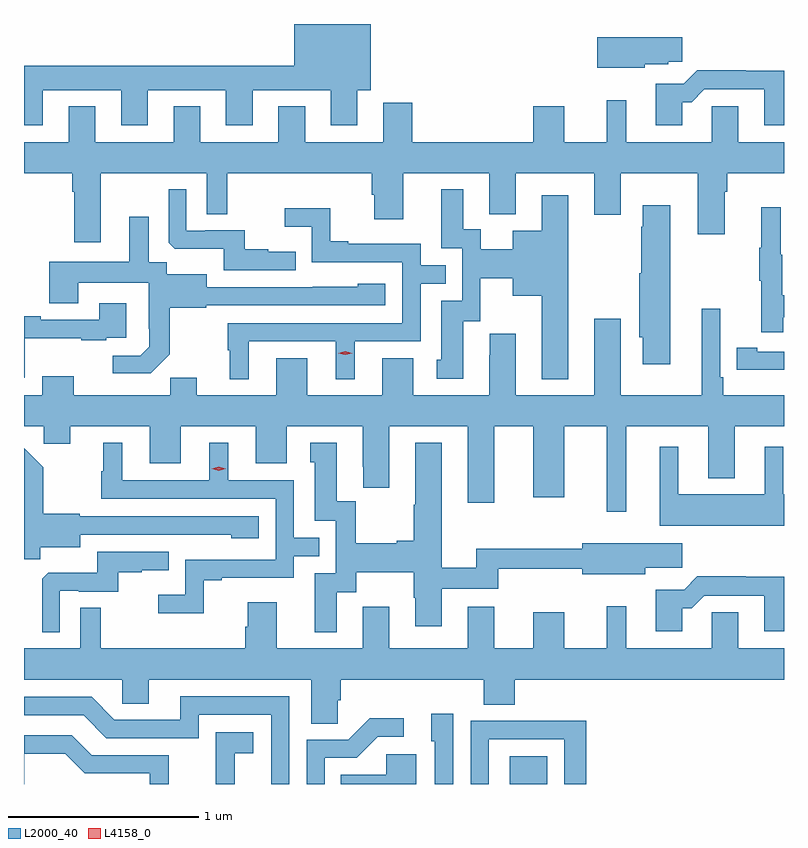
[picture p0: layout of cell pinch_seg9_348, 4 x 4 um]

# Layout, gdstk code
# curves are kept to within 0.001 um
import gdstk
lib = gdstk.Library(unit=1e-6, precision=1e-09)
def R(c, l, rs):  # rectangles x0, y0, x1, y1
    for r in rs: c.add(gdstk.rectangle(r[:2], r[2:], *l))
def P(c, l, *ps):  # polygons
    for p in ps: c.add(gdstk.Polygon(p, *l))
L2000_40 = (2000, 40)
L4158_0 = (4158, 0)

pinch_seg9_348 = lib.new_cell('pinch_seg9_348')
R(pinch_seg9_348, L2000_40, [(584.465,1189.21,584.662,1189.357)])
P(pinch_seg9_348, L2000_40, [(582.007,1192.862),(582.419,1192.862),(582.419,1192.677),(582.559,1192.677),(582.559,1192.862),(582.971,1192.862),(582.971,1192.677),(583.111,1192.677),(583.111,1192.862),(583.523,1192.862),(583.523,1192.677),(583.663,1192.677),(583.663,1192.862),(583.732,1192.862),(583.732,1193.21),(583.331,1193.21),(583.331,1192.99),(581.908,1192.99),(581.908,1192.677),(582.007,1192.677)],
  [(585.174,1192.997),(585.3,1192.997),(585.3,1193.011),(585.373,1193.011),(585.373,1193.14),(584.924,1193.14),(584.924,1192.979),(585.174,1192.979)],
  [(585.373,1192.799),(585.422,1192.799),(585.489,1192.866),(585.803,1192.866),(585.803,1192.677),(585.908,1192.677),(585.908,1192.964),(585.707,1192.964),(585.707,1192.967),(585.452,1192.967),(585.381,1192.896),(585.233,1192.896),(585.233,1192.677),(585.373,1192.677)],
  [(582.313,1192.424),(582.87,1192.424),(582.87,1192.21),(582.979,1192.21),(582.979,1192.424),(583.739,1192.424),(583.739,1192.311),(583.751,1192.311),(583.751,1192.182),(583.903,1192.182),(583.903,1192.424),(584.357,1192.424),(584.357,1192.208),(584.497,1192.208),(584.497,1192.424),(584.909,1192.424),(584.909,1192.206),(585.049,1192.206),(585.049,1192.424),(585.455,1192.424),(585.455,1192.104),(585.595,1192.104),(585.595,1192.328),(585.608,1192.328),(585.608,1192.424),(585.908,1192.424),(585.908,1192.588),(585.667,1192.588),(585.667,1192.778),(585.528,1192.778),(585.528,1192.588),(585.079,1192.588),(585.079,1192.81),(584.975,1192.81),(584.975,1192.588),(584.752,1192.588),(584.752,1192.777),(584.588,1192.777),(584.588,1192.588),(583.952,1192.588),(583.952,1192.795),(583.799,1192.795),(583.799,1192.588),(583.387,1192.588),(583.387,1192.777),(583.247,1192.777),(583.247,1192.588),(582.835,1192.588),(582.835,1192.777),(582.695,1192.777),(582.695,1192.588),(582.283,1192.588),(582.283,1192.777),(582.143,1192.777),(582.143,1192.588),(581.908,1192.588),(581.908,1192.424),(582.161,1192.424),(582.161,1192.328),(582.173,1192.328),(582.173,1192.062),(582.313,1192.062)],
  [(583.337,1192.012),(583.193,1192.012),(583.193,1192.024),(583.07,1192.024),(583.07,1192.125),(582.862,1192.125),(582.862,1192.122),(582.762,1192.122),(582.762,1192.339),(582.669,1192.339),(582.669,1192.059),(582.701,1192.028),(582.96,1192.028),(582.96,1191.915),(583.337,1191.915)],
  [(584.773,1192.309),(584.633,1192.309),(584.633,1192.123),(584.48,1192.123),(584.48,1192.024),(584.311,1192.024),(584.311,1192.13),(584.221,1192.13),(584.221,1192.339),(584.105,1192.339),(584.105,1192.029),(584.214,1192.029),(584.214,1191.753),(584.105,1191.753),(584.105,1191.444),(584.081,1191.444),(584.081,1191.342),(584.221,1191.342),(584.221,1191.645),(584.31,1191.645),(584.31,1191.872),(584.48,1191.872),(584.48,1191.779),(584.633,1191.779),(584.633,1191.341),(584.773,1191.341)],
  [(585.31,1192.255),(585.164,1192.255),(585.164,1192.142),(585.157,1192.142),(585.157,1191.897),(585.146,1191.897),(585.146,1191.561),(585.164,1191.561),(585.164,1191.42),(585.31,1191.42)],
  [(585.905,1191.666),(585.908,1191.666),(585.908,1191.782),(585.898,1191.782),(585.898,1191.996),(585.89,1191.996),(585.89,1192.246),(585.788,1192.246),(585.788,1192.033),(585.777,1192.033),(585.777,1191.859),(585.788,1191.859),(585.788,1191.588),(585.905,1191.588)],
  [(583.09,1191.54),(583.55,1191.54),(583.55,1191.341),(583.648,1191.341),(583.648,1191.54),(583.995,1191.54),(583.995,1191.843),(584.129,1191.843),(584.129,1191.939),(583.995,1191.939),(583.995,1192.053),(583.615,1192.053),(583.615,1192.066),(583.521,1192.066),(583.521,1192.241),(583.281,1192.241),(583.281,1192.142),(583.422,1192.142),(583.422,1191.957),(583.899,1191.957),(583.899,1191.636),(582.981,1191.636),(582.981,1191.492),(582.992,1191.492),(582.992,1191.341),(583.09,1191.341)],
  [(582.675,1191.471),(582.675,1191.717),(582.867,1191.717),(582.867,1191.729),(583.81,1191.729),(583.81,1191.844),(583.665,1191.844),(583.665,1191.826),(582.871,1191.825),(582.871,1191.892),(582.66,1191.892),(582.66,1191.956),(582.565,1191.956),(582.565,1192.195),(582.461,1192.195),(582.461,1191.958),(582.041,1191.958),(582.041,1191.739),(582.193,1191.739),(582.193,1191.848),(582.564,1191.848),(582.564,1191.607),(582.566,1191.607),(582.566,1191.512),(582.519,1191.465),(582.375,1191.465),(582.375,1191.371),(582.575,1191.371)],
  [(581.911,1191.557),(582.209,1191.557),(582.209,1191.546),(582.341,1191.546),(582.341,1191.558),(582.445,1191.558),(582.445,1191.739),(582.305,1191.739),(582.305,1191.654),(581.995,1191.654),(581.995,1191.673),(581.908,1191.673),(581.908,1191.348),(581.911,1191.348)],
  [(582.169,1191.355),(582.005,1191.355),(582.005,1191.256),(581.908,1191.256),(581.908,1191.092),(582.013,1191.092),(582.013,1191.002),(582.151,1191.002),(582.151,1191.092),(582.569,1191.092),(582.569,1190.898),(582.733,1190.898),(582.733,1191.092),(583.127,1191.092),(583.127,1190.898),(583.291,1190.898),(583.291,1191.092),(583.691,1191.092),(583.691,1190.881),(583.694,1190.881),(583.694,1190.769),(583.831,1190.769),(583.831,1191.092),(584.243,1191.092),(584.243,1190.691),(584.383,1190.691),(584.383,1191.092),(584.588,1191.092),(584.588,1190.718),(584.752,1190.718),(584.752,1191.092),(584.975,1191.092),(584.975,1190.643),(585.079,1190.643),(585.079,1191.092),(585.509,1191.092),(585.509,1190.819),(585.649,1190.819),(585.649,1191.092),(585.908,1191.092),(585.908,1191.256),(585.587,1191.256),(585.587,1191.352),(585.573,1191.352),(585.573,1191.712),(585.476,1191.712),(585.476,1191.256),(585.049,1191.256),(585.049,1191.658),(584.909,1191.658),(584.909,1191.256),(584.497,1191.256),(584.497,1191.58),(584.358,1191.58),(584.358,1191.467),(584.357,1191.467),(584.357,1191.256),(583.957,1191.256),(583.957,1191.451),(583.793,1191.451),(583.793,1191.256),(583.399,1191.256),(583.399,1191.451),(583.235,1191.451),(583.235,1191.256),(582.817,1191.256),(582.817,1191.347),(582.679,1191.347),(582.679,1191.256),(582.169,1191.256)],
  [(585.908,1191.486),(585.766,1191.486),(585.766,1191.506),(585.658,1191.506),(585.658,1191.39),(585.766,1191.39),(585.766,1191.389),(585.908,1191.389)],
  [(582.855,1190.283),(582.949,1190.283),(582.949,1190.295),(583.329,1190.295),(583.329,1190.409),(583.463,1190.409),(583.463,1190.505),(583.329,1190.505),(583.329,1190.808),(582.982,1190.808),(582.982,1191.007),(582.884,1191.007),(582.884,1190.808),(582.424,1190.808),(582.424,1191.007),(582.326,1191.007),(582.326,1190.856),(582.315,1190.856),(582.315,1190.712),(583.233,1190.712),(583.233,1190.391),(582.756,1190.391),(582.756,1190.206),(582.615,1190.206),(582.615,1190.108),(582.855,1190.108)],
  [(583.555,1190.218),(583.657,1190.218),(583.657,1190.324),(583.96,1190.324),(583.96,1190.19),(583.967,1190.19),(583.967,1190.04),(584.107,1190.04),(584.107,1190.238),(584.405,1190.238),(584.405,1190.344),(584.846,1190.344),(584.846,1190.315),(585.178,1190.315),(585.178,1190.347),(585.373,1190.347),(585.373,1190.476),(584.846,1190.476),(584.846,1190.447),(584.288,1190.447),(584.288,1190.347),(584.107,1190.347),(584.107,1191.007),(583.967,1191.007),(583.967,1190.681),(583.96,1190.681),(583.96,1190.489),(583.871,1190.489),(583.871,1190.476),(583.653,1190.476),(583.653,1190.699),(583.555,1190.699),(583.555,1191.007),(583.415,1191.007),(583.415,1190.904),(583.439,1190.904),(583.439,1190.595),(583.548,1190.595),(583.548,1190.319),(583.439,1190.319),(583.439,1190.01),(583.555,1190.01)],
  [(585.908,1190.734),(585.904,1190.734),(585.904,1190.986),(585.806,1190.986),(585.806,1190.734),(585.352,1190.734),(585.352,1190.986),(585.254,1190.986),(585.254,1190.57),(585.908,1190.57)],
  [(581.994,1190.456),(582.205,1190.456),(582.205,1190.523),(582.999,1190.522),(582.999,1190.504),(583.144,1190.504),(583.144,1190.619),(582.201,1190.619),(582.201,1190.632),(582.009,1190.632),(582.009,1190.877),(581.908,1190.977),(581.908,1190.392),(581.994,1190.392)],
  [(582.096,1190.226),(582.196,1190.226),(582.196,1190.223),(582.404,1190.223),(582.404,1190.325),(582.527,1190.325),(582.527,1190.336),(582.671,1190.336),(582.671,1190.433),(582.294,1190.433),(582.294,1190.321),(582.035,1190.321),(582.003,1190.289),(582.003,1190.009),(582.096,1190.009)],
  [(585.373,1190.135),(585.422,1190.135),(585.489,1190.202),(585.803,1190.202),(585.803,1190.013),(585.908,1190.013),(585.908,1190.3),(585.707,1190.3),(585.707,1190.303),(585.452,1190.303),(585.382,1190.233),(585.233,1190.233),(585.233,1190.013),(585.373,1190.013)],
  [(583.56,1189.651),(583.574,1189.651),(583.574,1189.76),(584.327,1189.76),(584.327,1189.627),(584.492,1189.627),(584.492,1189.76),(585.908,1189.76),(585.908,1189.924),(585.667,1189.924),(585.667,1190.114),(585.528,1190.114),(585.528,1189.924),(585.079,1189.924),(585.079,1190.146),(584.975,1190.146),(584.975,1189.924),(584.752,1189.924),(584.752,1190.113),(584.588,1190.113),(584.588,1189.924),(584.383,1189.924),(584.383,1190.143),(584.243,1190.143),(584.243,1189.924),(583.831,1189.924),(583.831,1190.143),(583.691,1190.143),(583.691,1189.924),(583.237,1189.924),(583.237,1190.167),(583.085,1190.167),(583.085,1190.037),(583.073,1190.037),(583.073,1189.924),(582.313,1189.924),(582.313,1190.138),(582.204,1190.138),(582.204,1189.924),(581.908,1189.924),(581.908,1189.76),(582.426,1189.76),(582.426,1189.633),(582.565,1189.633),(582.565,1189.76),(583.421,1189.76),(583.421,1189.528),(583.56,1189.528)],
  [(583.305,1189.671),(582.731,1189.671),(582.731,1189.548),(582.384,1189.548),(582.264,1189.668),(581.908,1189.668),(581.908,1189.572),(582.222,1189.572),(582.342,1189.452),(582.828,1189.452),(582.828,1189.575),(583.209,1189.575),(583.209,1189.21),(583.305,1189.21)],
  [(584.166,1189.579),(584.051,1189.579),(584.051,1189.434),(584.07,1189.434),(584.07,1189.21),(584.166,1189.21)],
  [(583.491,1189.347),(583.66,1189.347),(583.771,1189.458),(583.906,1189.458),(583.906,1189.556),(583.727,1189.556),(583.614,1189.443),(583.395,1189.443),(583.395,1189.21),(583.491,1189.21)],
  [(584.355,1189.446),(584.751,1189.446),(584.751,1189.21),(584.867,1189.21),(584.867,1189.544),(584.575,1189.544),(584.575,1189.542),(584.259,1189.542),(584.259,1189.21),(584.355,1189.21)],
  [(583.016,1189.373),(583.114,1189.373),(583.114,1189.483),(582.916,1189.483),(582.916,1189.277),(582.917,1189.277),(582.917,1189.21),(583.016,1189.21)],
  [(581.91,1189.37),(582.124,1189.37),(582.228,1189.266),(582.57,1189.266),(582.57,1189.21),(582.669,1189.21),(582.669,1189.362),(582.265,1189.362),(582.16,1189.467),(581.908,1189.467),(581.908,1189.21),(581.91,1189.21)],
  [(583.972,1189.366),(583.815,1189.366),(583.815,1189.258),(583.576,1189.258),(583.576,1189.21),(583.972,1189.21)])
P(pinch_seg9_348, L4158_0, [(583.599,1191.468),(583.563,1191.478),(583.563,1191.478),(583.563,1191.478),(583.599,1191.488),(583.635,1191.478),(583.635,1191.478),(583.635,1191.478)],
  [(582.933,1190.86),(582.897,1190.869),(582.897,1190.87),(582.897,1190.87),(582.933,1190.88),(582.969,1190.87),(582.969,1190.87),(582.969,1190.869)])

lib.write_gds('pinch_seg9_348.gds')
